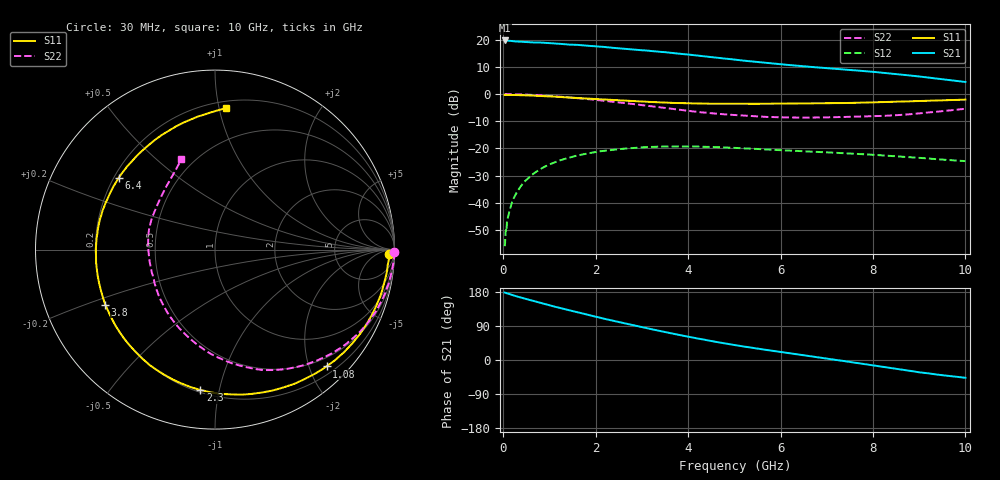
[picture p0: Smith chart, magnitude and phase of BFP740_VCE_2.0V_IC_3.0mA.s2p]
! Infineon Technologies  Discrete & RF Semiconductors
! BFP740
! VCE =  2.0 V,  IC =  3.0 mA
! Common Emitter S-Parameters:  Jan 2016
# GHz  S  MA  R  50
!  f  S11  S21  S12  S22
! GHz  MAG  ANG  MAG  ANG  MAG  ANG  MAG  ANG
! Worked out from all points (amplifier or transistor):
!   229 points, 30 MHz to 10 GHz, reference 50 ohm
!   highest |S21| = 19.7 dB at 30 MHz (marker M1)
!   |S21| within 3 dB of that: start of sweep to 2.6 GHz
!   unconditionally stable (mu >= 1): 8.243 GHz to end of sweep
!   at 280 MHz: K = 0.07, MSG = 27.9 dB, |S12| = -36.5 dB
!   at 1.78 GHz: K = 0.19, MSG = 19.9 dB, |S12| = -22.0 dB
!   at 10 GHz: K = 1.25, MAG = 11.5 dB, |S12| = -24.6 dB
!   S11 on the Smith chart (normalised r, x): 30 MHz: 42, -32; 1.08 GHz: 0.33, -2.30; 2.3 GHz: 0.21, -0.88; 3.8 GHz: 0.20, -0.23; 6.4 GHz: 0.22, +0.32; 10 GHz: 0.25, +1.05
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0.03  0.9701 -1.3  9.675 178.0  0.0016 73.7  0.9994 -0.9
0.04  0.9696 -1.8  9.515 177.6  0.0018 96.6  0.9994 -1.3
0.05  0.9691 -2.1  9.602 177.4  0.0028 96.1  0.9998 -1.6
0.1  0.967 -4.5  9.595 175.0  0.0054 91.9  0.9977 -3.2
0.28  0.9598 -12.2  9.254 168.3  0.0149 80.9  0.9896 -8.6
0.8  0.9263 -34.5  8.872 151.0  0.0416 66.6  0.9491 -24.2
1.08  0.9005 -46.3  8.552 141.9  0.0543 58.5  0.9149 -32.4
1.3  0.8772 -55.4  8.314 134.8  0.0632 52.1  0.8852 -38.7
1.7  0.8382 -71.8  7.884 122.9  0.0773 42.1  0.8284 -49.4
2  0.8114 -84.1  7.571 114.3  0.0859 34.9  0.7828 -57.7
2.3  0.7865 -96.0  7.173 105.7  0.0932 27.7  0.7368 -65.6
2.8  0.7457 -115.5  6.614 92.2  0.1023 17.0  0.658 -78.4
3.4  0.7035 -138.8  5.974 76.4  0.1082 5.0  0.5678 -94.9
3.8  0.6838 -153.4  5.53 66.4  0.1096 -2.7  0.5145 -106.0
4.4  0.6664 -173.8  4.888 52.3  0.1072 -12.7  0.4527 -122.7
5.1  0.6621 167.3  4.222 37.6  0.1015 -22.3  0.4063 -139.9
5.8  0.6629 153.4  3.654 24.7  0.0947 -29.7  0.3782 -155.4
6.4  0.6689 143.3  3.303 14.3  0.0898 -34.6  0.3705 -169.5
6.8  0.674 136.4  3.089 7.3  0.0865 -37.9  0.3709 -179.1
8.4  0.7199 107.6  2.383 -21.5  0.0727 -47.9  0.4043 143.5
9  0.7466 97.6  2.106 -32.4  0.0673 -50.5  0.4414 128.5
10  0.79 85.7  1.669 -47.0  0.0586 -50.2  0.5363 110.5
